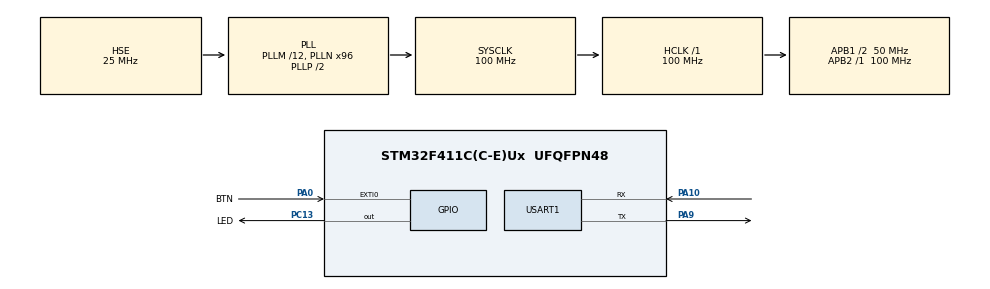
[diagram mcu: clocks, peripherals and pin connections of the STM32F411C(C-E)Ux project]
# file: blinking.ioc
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Mcu.Family=STM32F4
Mcu.Name=STM32F411C(C-E)Ux
Mcu.Package=UFQFPN48
NVIC.EXTI0_IRQn=true\:0\:0\:false\:false\:true\:true\:true\:true
NVIC.PriorityGroup=NVIC_PRIORITYGROUP_4
NVIC.TIM4_IRQn=true\:0\:0\:false\:false\:true\:true\:true\:true
PA0-WKUP.GPIO_Label=BTN
PA0-WKUP.GPIO_ModeDefaultEXTI=GPIO_MODE_IT_RISING
PA0-WKUP.GPIO_PuPd=GPIO_PULLUP
PA0-WKUP.Signal=GPXTI0
PA10.Mode=Asynchronous
PA10.Signal=USART1_RX
PA9.Mode=Asynchronous
PA9.Signal=USART1_TX
PC13-ANTI_TAMP.GPIO_Label=LED
PC13-ANTI_TAMP.GPIO_ModeDefaultOutputPP=GPIO_MODE_OUTPUT_OD
PC13-ANTI_TAMP.GPIO_PuPd=GPIO_NOPULL
PC13-ANTI_TAMP.PinState=GPIO_PIN_SET
PC13-ANTI_TAMP.Signal=GPIO_Output
PH0\ -\ OSC_IN.Mode=HSE-External-Oscillator
PH0\ -\ OSC_IN.Signal=RCC_OSC_IN
PH1\ -\ OSC_OUT.Mode=HSE-External-Oscillator
PH1\ -\ OSC_OUT.Signal=RCC_OSC_OUT
ProjectManager.HeapSize=0x200
ProjectManager.StackSize=0x400
ProjectManager.TargetToolchain=STM32CubeIDE
RCC.48MHZClocksFreq_Value=50000000
RCC.AHBFreq_Value=100000000
RCC.APB1CLKDivider=RCC_HCLK_DIV2
RCC.APB1Freq_Value=50000000
RCC.APB1TimFreq_Value=100000000
RCC.APB2Freq_Value=100000000
RCC.APB2TimFreq_Value=100000000
RCC.CortexFreq_Value=100000000
RCC.HCLKFreq_Value=100000000
RCC.HSE_VALUE=25000000
RCC.HSI_VALUE=16000000
RCC.LSE_VALUE=32768
RCC.PLLM=12
RCC.PLLN=96
RCC.PLLSourceVirtual=RCC_PLLSOURCE_HSE
RCC.SYSCLKFreq_VALUE=100000000
RCC.SYSCLKSource=RCC_SYSCLKSOURCE_PLLCLK
RCC.VCOOutputFreq_Value=200000000
TIM4.Period=4999
TIM4.Prescaler=9999
USART1.VirtualMode=VM_ASYNC
VP_TIM4_VS_ClockSourceINT.Mode=Internal
board=custom

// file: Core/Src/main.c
/* USER CODE BEGIN Header */
/**
  ******************************************************************************
  * @file           : main.c
  * @brief          : Main program body
  ******************************************************************************
  * @attention
  *
  * Copyright (c) 2026 STMicroelectronics.
  * All rights reserved.
  *
  * This software is licensed under terms that can be found in the LICENSE file
  * in the root directory of this software component.
  * If no LICENSE file comes with this software, it is provided AS-IS.
  *
  ******************************************************************************
  */
/* USER CODE END Header */
#include "main.h"

/* USER CODE BEGIN Includes */

#include "stdio.h"
#include "xv_functions.h"

/* USER CODE END Includes */

TIM_HandleTypeDef htim4;

UART_HandleTypeDef huart1;

void SystemClock_Config(void);
static void MX_GPIO_Init(void);
static void MX_TIM4_Init(void);
static void MX_USART1_UART_Init(void);

/* USER CODE BEGIN 0 */

// Goes from 0 -> 2
uint8_t cycle = 0;

// Overwrite to detect when "BTN" is pressed
void HAL_GPIO_EXTI_Callback(uint16_t GPIO_Pin) {
  if (GPIO_Pin == BTN_Pin) {
	  xv_print("Button pressed!");
	  cycle += 1;
	  cycle %= 3;
  }
}

// Detect when a timer interrupt occurs
void HAL_TIM_PeriodElapsedCallback(TIM_HandleTypeDef *htim) {
    if (htim == &htim4) {
        HAL_GPIO_TogglePin(LED_GPIO_Port, LED_Pin);
    }
}

/* USER CODE END 0 */

int main(void)
{

  /* MCU Configuration--------------------------------------------------------*/

  /* Reset of all peripherals, Initializes the Flash interface and the Systick. */
  HAL_Init();

  /* Configure the system clock */
  SystemClock_Config();

  /* Initialize all configured peripherals */
  MX_GPIO_Init();
  MX_TIM4_Init();
  MX_USART1_UART_Init();
  /* USER CODE BEGIN 2 */

  // Use helper function to redirect printing through UART
  xv_redirect_printf(&huart1);
  xv_print("Working!");

  HAL_TIM_Base_Start_IT(&htim4);

  /* USER CODE END 2 */

  uint8_t old_cycle = cycle;
  /* Infinite loop */
  /* USER CODE BEGIN WHILE */
  while (1)
  {
    // Change the timer counter period so that the LED blinks faster
    if (cycle != old_cycle) {
        xv_print("Cycle change! %u", cycle);
        switch(cycle) {
            case 0: {
                __HAL_TIM_SET_AUTORELOAD(&htim4, 4999);
                break;
            }
            case 1: {
                __HAL_TIM_SET_AUTORELOAD(&htim4, 2499);
                break;
            }
            case 2: {
                __HAL_TIM_SET_AUTORELOAD(&htim4, 9999);
                break;
            }
        }
        old_cycle = cycle;
    }

    /* USER CODE END WHILE */

  }
}

void SystemClock_Config(void)
{
  RCC_OscInitTypeDef RCC_OscInitStruct = {0};
  RCC_ClkInitTypeDef RCC_ClkInitStruct = {0};

  /** Configure the main internal regulator output voltage
  */
  __HAL_RCC_PWR_CLK_ENABLE();
  __HAL_PWR_VOLTAGESCALING_CONFIG(PWR_REGULATOR_VOLTAGE_SCALE1);

  /** Initializes the RCC Oscillators according to the specified parameters
  * in the RCC_OscInitTypeDef structure.
  */
  RCC_OscInitStruct.OscillatorType = RCC_OSCILLATORTYPE_HSE;
  RCC_OscInitStruct.HSEState = RCC_HSE_ON;
  RCC_OscInitStruct.PLL.PLLState = RCC_PLL_ON;
  RCC_OscInitStruct.PLL.PLLSource = RCC_PLLSOURCE_HSE;
  RCC_OscInitStruct.PLL.PLLM = 12;
  RCC_OscInitStruct.PLL.PLLN = 96;
  RCC_OscInitStruct.PLL.PLLP = RCC_PLLP_DIV2;
  RCC_OscInitStruct.PLL.PLLQ = 4;
  if (HAL_RCC_OscConfig(&RCC_OscInitStruct) != HAL_OK)
  {
    Error_Handler();
  }

  /** Initializes the CPU, AHB and APB buses clocks
  */
  RCC_ClkInitStruct.ClockType = RCC_CLOCKTYPE_HCLK|RCC_CLOCKTYPE_SYSCLK
                              |RCC_CLOCKTYPE_PCLK1|RCC_CLOCKTYPE_PCLK2;
  RCC_ClkInitStruct.SYSCLKSource = RCC_SYSCLKSOURCE_PLLCLK;
  RCC_ClkInitStruct.AHBCLKDivider = RCC_SYSCLK_DIV1;
  RCC_ClkInitStruct.APB1CLKDivider = RCC_HCLK_DIV2;
  RCC_ClkInitStruct.APB2CLKDivider = RCC_HCLK_DIV1;

  if (HAL_RCC_ClockConfig(&RCC_ClkInitStruct, FLASH_LATENCY_3) != HAL_OK)
  {
    Error_Handler();
  }
}

static void MX_TIM4_Init(void)
{

  TIM_ClockConfigTypeDef sClockSourceConfig = {0};
  TIM_MasterConfigTypeDef sMasterConfig = {0};

  htim4.Instance = TIM4;
  htim4.Init.Prescaler = 9999;
  htim4.Init.CounterMode = TIM_COUNTERMODE_UP;
  htim4.Init.Period = 4999;
  htim4.Init.ClockDivision = TIM_CLOCKDIVISION_DIV1;
  htim4.Init.AutoReloadPreload = TIM_AUTORELOAD_PRELOAD_DISABLE;
  if (HAL_TIM_Base_Init(&htim4) != HAL_OK)
  {
    Error_Handler();
  }
  sClockSourceConfig.ClockSource = TIM_CLOCKSOURCE_INTERNAL;
  if (HAL_TIM_ConfigClockSource(&htim4, &sClockSourceConfig) != HAL_OK)
  {
    Error_Handler();
  }
  sMasterConfig.MasterOutputTrigger = TIM_TRGO_RESET;
  sMasterConfig.MasterSlaveMode = TIM_MASTERSLAVEMODE_DISABLE;
  if (HAL_TIMEx_MasterConfigSynchronization(&htim4, &sMasterConfig) != HAL_OK)
  {
    Error_Handler();
  }

}

static void MX_USART1_UART_Init(void)
{

  huart1.Instance = USART1;
  huart1.Init.BaudRate = 115200;
  huart1.Init.WordLength = UART_WORDLENGTH_8B;
  huart1.Init.StopBits = UART_STOPBITS_1;
  huart1.Init.Parity = UART_PARITY_NONE;
  huart1.Init.Mode = UART_MODE_TX_RX;
  huart1.Init.HwFlowCtl = UART_HWCONTROL_NONE;
  huart1.Init.OverSampling = UART_OVERSAMPLING_16;
  if (HAL_UART_Init(&huart1) != HAL_OK)
  {
    Error_Handler();
  }

}

static void MX_GPIO_Init(void)
{
  GPIO_InitTypeDef GPIO_InitStruct = {0};

  /* GPIO Ports Clock Enable */
  __HAL_RCC_GPIOC_CLK_ENABLE();
  __HAL_RCC_GPIOH_CLK_ENABLE();
  __HAL_RCC_GPIOA_CLK_ENABLE();

  /*Configure GPIO pin Output Level */
  HAL_GPIO_WritePin(LED_GPIO_Port, LED_Pin, GPIO_PIN_SET);

  /*Configure GPIO pin : LED_Pin */
  GPIO_InitStruct.Pin = LED_Pin;
  GPIO_InitStruct.Mode = GPIO_MODE_OUTPUT_OD;
  GPIO_InitStruct.Pull = GPIO_NOPULL;
  GPIO_InitStruct.Speed = GPIO_SPEED_FREQ_LOW;
  HAL_GPIO_Init(LED_GPIO_Port, &GPIO_InitStruct);

  /*Configure GPIO pin : BTN_Pin */
  GPIO_InitStruct.Pin = BTN_Pin;
  GPIO_InitStruct.Mode = GPIO_MODE_IT_RISING;
  GPIO_InitStruct.Pull = GPIO_PULLUP;
  HAL_GPIO_Init(BTN_GPIO_Port, &GPIO_InitStruct);

  /* EXTI interrupt init*/
  HAL_NVIC_SetPriority(EXTI0_IRQn, 0, 0);
  HAL_NVIC_EnableIRQ(EXTI0_IRQn);

}

void Error_Handler(void)
{
  __disable_irq();
  while (1)
  {
  }
}
